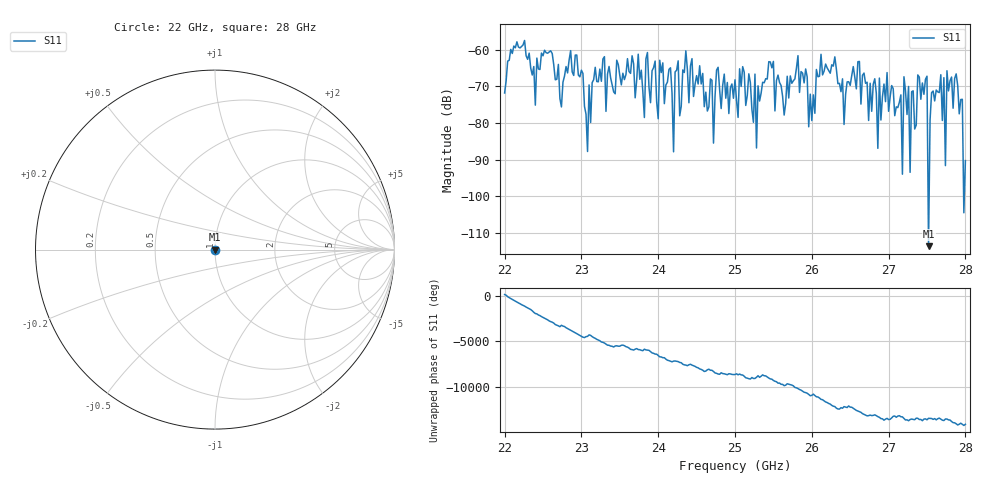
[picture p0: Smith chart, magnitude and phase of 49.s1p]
#  HZ  S  RI  R  50.00
! Rohde & Schwarz ZVA40 4Ports - Version 3.90 - 1145.1110k42 SN: 100403
! Date: 2023-10-04 07:54:15
! Measurement: S12
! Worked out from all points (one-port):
!   301 points, 22 GHz to 28 GHz, reference 50 ohm
!   lowest |S11| = -113.7 dB at 27.52 GHz (marker M1), VSWR 1.00, Z = 50 - j0.000159 ohm
!   |S11| at or under -10 dB: start of sweep to end of sweep
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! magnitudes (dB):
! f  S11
! 22 GHz  -71.8
! 22.16 GHz  -57.8
! 22.4 GHz  -75.1
! 22.52 GHz  -60.1
! 22.76 GHz  -68.8
! 23.5 GHz  -67.0
! 23.74 GHz  -61.2
! 23.82 GHz  -78.5
! 23.84 GHz  -62.5
! 23.96 GHz  -63.1
! 24 GHz  -78.8
! 24.02 GHz  -62.8
! 24.16 GHz  -64.9
! 24.2 GHz  -87.9
! 24.26 GHz  -63.0
! 24.28 GHz  -78.0
! 24.36 GHz  -60.3
! 24.72 GHz  -85.5
! 24.76 GHz  -65.5
! 25 GHz  -68.2
! 25.76 GHz  -68.4
! 26.5 GHz  -69.7
! 27.26 GHz  -70.0
! 27.52 GHz  -113.7
! 27.68 GHz  -66.8
! 27.74 GHz  -91.7
! 27.76 GHz  -65.7
! 28 GHz  -90.3
